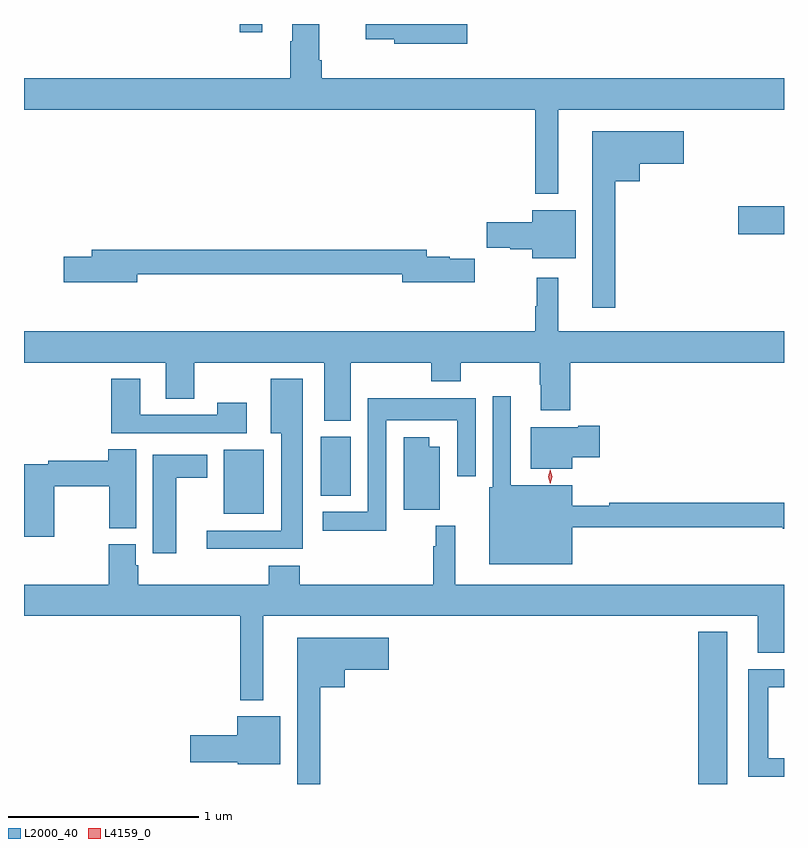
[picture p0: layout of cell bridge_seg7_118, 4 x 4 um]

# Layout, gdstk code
import gdstk
lib = gdstk.Library(unit=1e-6, precision=1e-09)
def R(c, l, rs):  # rectangles x0, y0, x1, y1
    for r in rs: c.add(gdstk.rectangle(r[:2], r[2:], *l))
def P(c, l, *ps):  # polygons
    for p in ps: c.add(gdstk.Polygon(p, *l))
L2000_40 = (2000, 40)
L4159_0 = (4159, 0)

bridge_seg7_118 = lib.new_cell('bridge_seg7_118')
R(bridge_seg7_118, L2000_40, [(684.827,1011.718,684.979,1012.519), (682.328,1013.141,682.54,1013.476), (682.841,1013.236,682.999,1013.545), (685.038,1014.611,685.278,1014.758), (682.414,1015.674,682.531,1015.718)])
P(bridge_seg7_118, L2000_40, [(684.091,1015.268),(685.278,1015.268),(685.278,1015.432),(682.844,1015.432),(682.844,1015.528),(682.831,1015.528),(682.831,1015.718),(682.691,1015.718),(682.691,1015.628),(682.679,1015.628),(682.679,1015.432),(681.278,1015.432),(681.278,1015.268),(683.97,1015.268),(683.97,1014.824),(684.091,1014.824)],
  [(683.611,1015.718),(683.076,1015.718),(683.076,1015.637),(683.226,1015.637),(683.226,1015.613),(683.611,1015.613)],
  [(684.391,1014.89),(684.52,1014.89),(684.52,1014.983),(684.751,1014.983),(684.751,1015.153),(684.269,1015.153),(684.269,1014.225),(684.391,1014.225)],
  [(684.181,1014.739),(683.954,1014.739),(683.954,1014.674),(683.713,1014.674),(683.713,1014.54),(683.838,1014.54),(683.838,1014.532),(683.954,1014.532),(683.954,1014.485),(684.181,1014.485)],
  [(681.874,1014.402),(683.27,1014.402),(683.27,1014.359),(683.651,1014.359),(683.651,1014.482),(683.52,1014.482),(683.52,1014.494),(683.398,1014.494),(683.398,1014.53),(681.635,1014.53),(681.635,1014.494),(681.486,1014.494),(681.486,1014.359),(681.874,1014.359)],
  [(682.999,1013.936),(683.422,1013.936),(683.422,1013.837),(683.577,1013.837),(683.577,1013.936),(683.992,1013.936),(683.992,1013.819),(683.999,1013.819),(683.999,1013.685),(684.152,1013.685),(684.152,1013.936),(685.278,1013.936),(685.278,1014.1),(684.091,1014.1),(684.091,1014.382),(683.977,1014.382),(683.977,1014.233),(683.97,1014.233),(683.97,1014.1),(681.278,1014.1),(681.278,1013.936),(682.025,1013.936),(682.025,1013.746),(682.173,1013.746),(682.173,1013.936),(682.859,1013.936),(682.859,1013.63),(682.999,1013.63)],
  [(682.45,1013.725),(682.294,1013.725),(682.294,1013.661),(681.889,1013.661),(681.889,1013.851),(681.737,1013.851),(681.737,1013.565),(682.45,1013.565)],
  [(682.744,1013.851),(682.577,1013.851),(682.577,1013.564),(682.631,1013.564),(682.631,1013.052),(682.239,1013.052),(682.239,1012.955),(682.744,1012.955)],
  [(684.163,1013.07),(685.272,1013.07),(685.272,1013.062),(685.278,1013.062),(685.278,1013.198),(684.359,1013.198),(684.359,1013.183),(684.163,1013.183),(684.163,1013.29),(683.841,1013.29),(683.841,1013.758),(683.745,1013.758),(683.745,1013.281),(683.726,1013.281),(683.726,1012.874),(684.163,1012.874)],
  [(683.184,1013.633),(683.559,1013.633),(683.559,1013.337),(683.655,1013.337),(683.655,1013.749),(683.088,1013.749),(683.088,1013.151),(682.851,1013.151),(682.851,1013.05),(683.184,1013.05)],
  [(684.163,1013.438),(684.307,1013.438),(684.307,1013.604),(684.194,1013.604),(684.194,1013.596),(683.945,1013.596),(683.945,1013.378),(684.163,1013.378)],
  [(683.467,1013.494),(683.41,1013.494),(683.41,1013.542),(683.276,1013.542),(683.276,1013.162),(683.467,1013.162)],
  [(681.438,1013.284),(681.727,1013.284),(681.727,1013.065),(681.868,1013.065),(681.868,1013.48),(681.722,1013.48),(681.722,1013.42),(681.406,1013.42),(681.406,1013.4),(681.278,1013.4),(681.278,1013.019),(681.438,1013.019)],
  [(682.078,1013.33),(682.243,1013.33),(682.243,1013.452),(681.956,1013.452),(681.956,1012.932),(682.078,1012.932)],
  [(685.139,1012.41),(685.278,1012.41),(685.278,1012.768),(683.548,1012.768),(683.548,1013.077),(683.446,1013.077),(683.446,1012.97),(683.431,1012.97),(683.431,1012.768),(682.73,1012.768),(682.73,1012.867),(682.565,1012.867),(682.565,1012.768),(681.878,1012.768),(681.878,1012.869),(681.865,1012.869),(681.865,1012.98),(681.725,1012.98),(681.725,1012.768),(681.278,1012.768),(681.278,1012.604),(682.416,1012.604),(682.416,1012.16),(682.537,1012.16),(682.537,1012.604),(685.139,1012.604)],
  [(682.837,1012.226),(682.966,1012.226),(682.966,1012.319),(683.197,1012.319),(683.197,1012.489),(682.715,1012.489),(682.715,1011.718),(682.837,1011.718)],
  [(685.278,1011.853),(685.195,1011.853),(685.195,1012.227),(685.278,1012.227),(685.278,1012.323),(685.091,1012.323),(685.091,1011.756),(685.278,1011.756)],
  [(682.627,1012.075),(682.4,1012.075),(682.4,1011.974),(682.152,1011.974),(682.152,1011.832),(682.404,1011.832),(682.404,1011.821),(682.627,1011.821)])
P(bridge_seg7_118, L4159_0, [(684.047,1013.297),(684.047,1013.297),(684.038,1013.335),(684.049,1013.373),(684.049,1013.373),(684.049,1013.373),(684.058,1013.335),(684.047,1013.297)])

lib.write_gds('bridge_seg7_118.gds')
